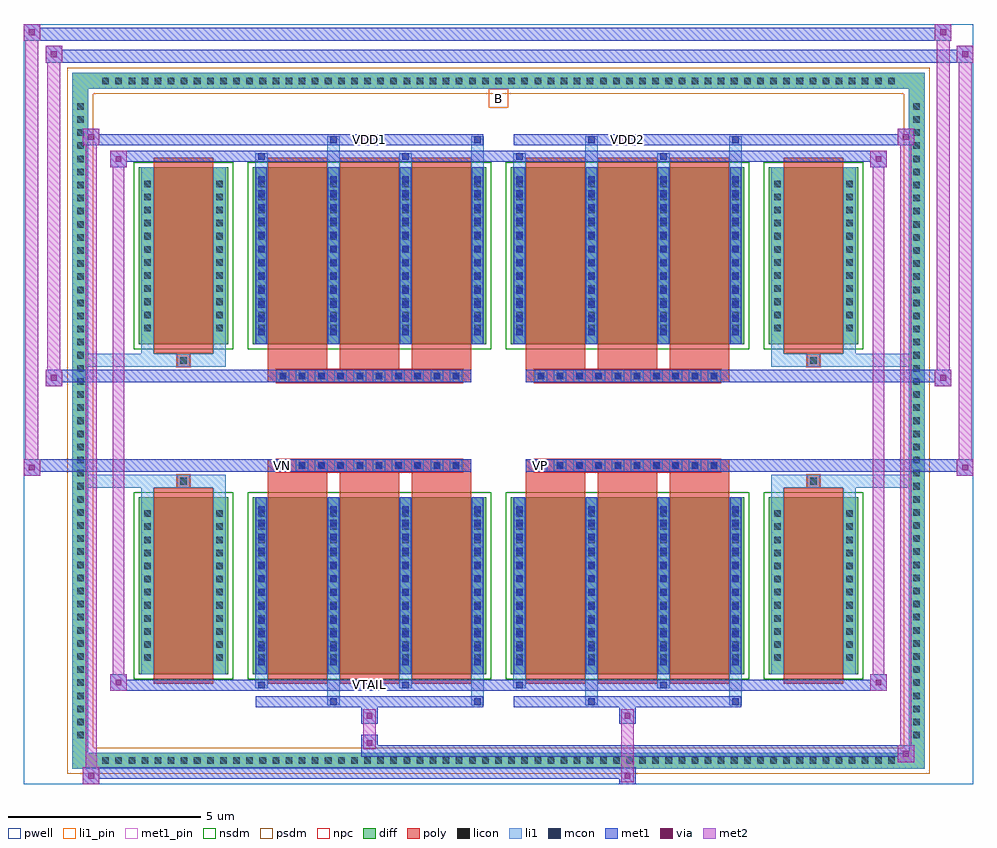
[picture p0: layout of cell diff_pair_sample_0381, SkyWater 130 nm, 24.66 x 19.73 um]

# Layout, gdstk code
import gdstk
lib = gdstk.Library(unit=1e-6, precision=5e-09)
def R(c, l, rs):  # rectangles x0, y0, x1, y1
    for r in rs: c.add(gdstk.rectangle(r[:2], r[2:], *l))
def A(c, l, x, y, w, h, nx, ny, dx, dy):  # array of equal rectangles
    R(c, l, [(x+i*dx, y+j*dy, x+i*dx+w, y+j*dy+h) for i in range(nx) for j in range(ny)])
def P(c, l, *ps):  # polygons
    for p in ps: c.add(gdstk.Polygon(p, *l))
pwell = (64, 44)
diff = (65, 20)
poly = (66, 20)
licon = (66, 44)
li1_pin = (67, 16)
li1 = (67, 20)
mcon = (67, 44)
met1_pin = (68, 16)
met1 = (68, 20)
via = (68, 44)
met2 = (69, 20)
nsdm = (93, 44)
psdm = (94, 20)
npc = (95, 20)

diff_pair_sample_0381 = lib.new_cell('diff_pair_sample_0381')
R(diff_pair_sample_0381, pwell, [(-12.33,-9.43,12.33,10.3), (-9.65,-7.62,-0.01,-0.8), (0.01,-7.62,9.65,-0.8), (-9.65,0.8,-0.01,7.62), (0.01,0.8,9.65,7.62)])
A(diff_pair_sample_0381, diff, -10.405, -9.03, 0.41, 0.41, 61, 2, 0.34, 17.65)
A(diff_pair_sample_0381, diff, -11.06, -8.365, 0.41, 0.41, 1, 49, 0, 0.34)
A(diff_pair_sample_0381, diff, 10.65, -8.365, 0.41, 0.41, 1, 49, 0, 0.34)
R(diff_pair_sample_0381, diff, [(-10.405,-9.03,10.405,-8.62), (-11.06,-8.365,-10.65,8.365), (10.65,-8.365,11.06,8.365), (-9.34,-6.575,-7.02,-1.985), (-6.38,-6.575,-0.32,-1.985), (0.32,-6.575,6.38,-1.985), (7.02,-6.575,9.34,-1.985), (-9.34,1.985,-7.02,6.575), (-6.38,1.985,-0.32,6.575), (0.32,1.985,6.38,6.575), (7.02,1.985,9.34,6.575), (-10.405,8.62,10.405,9.03)])
P(diff_pair_sample_0381, diff, [(11.06,9.03),(-11.06,9.03),(-11.06,-8.62),(-10.65,-8.62),(-10.65,8.62),(10.65,8.62),(10.65,-8.62),(-10.65,-8.62),(-11.06,-8.62),(-11.06,-9.03),(11.06,-9.03)])
A(diff_pair_sample_0381, poly, -5.99, -6.825, 1.54, 5.09, 3, 2, 1.87, 8.56)
A(diff_pair_sample_0381, poly, 0.71, -6.825, 1.54, 5.09, 3, 2, 1.87, 8.56)
A(diff_pair_sample_0381, poly, -5.99, -1.735, 1.54, 0.405, 3, 2, 1.87, 3.065)
A(diff_pair_sample_0381, poly, 0.71, -1.735, 1.54, 0.405, 3, 2, 1.87, 3.065)
A(diff_pair_sample_0381, poly, -5.765, -1.33, 0.33, 0.33, 10, 2, 0.5, 2.33)
A(diff_pair_sample_0381, poly, 0.935, -1.33, 0.33, 0.33, 10, 2, 0.5, 2.33)
R(diff_pair_sample_0381, poly, [(-8.95,-6.825,-7.41,-1.735), (7.41,-6.825,8.95,-1.735), (-8.345,-1.735,-8.015,-1.405), (-8.345,-1.735,-8.015,-1.405), (8.015,-1.735,8.345,-1.405), (8.015,-1.735,8.345,-1.405), (-5.99,-1.33,-0.71,-1), (0.71,-1.33,5.99,-1), (-5.99,1,-0.71,1.33), (0.71,1,5.99,1.33), (-8.345,1.405,-8.015,1.735), (-8.345,1.405,-8.015,1.735), (8.015,1.405,8.345,1.735), (8.015,1.405,8.345,1.735), (-8.95,1.735,-7.41,6.825), (7.41,1.735,8.95,6.825)])
A(diff_pair_sample_0381, licon, -10.285, -8.91, 0.17, 0.17, 61, 2, 0.34, 17.65)
A(diff_pair_sample_0381, licon, -10.94, -8.245, 0.17, 0.17, 1, 49, 0, 0.34)
A(diff_pair_sample_0381, licon, 10.77, -8.245, 0.17, 0.17, 1, 49, 0, 0.34)
A(diff_pair_sample_0381, licon, -9.2, -6.235, 0.17, 0.17, 1, 12, 0, 0.34)
A(diff_pair_sample_0381, licon, -7.33, -6.235, 0.17, 0.17, 1, 12, 0, 0.34)
A(diff_pair_sample_0381, licon, -6.24, -6.235, 0.17, 0.17, 4, 12, 1.87, 0.34)
A(diff_pair_sample_0381, licon, 0.46, -6.235, 0.17, 0.17, 4, 12, 1.87, 0.34)
A(diff_pair_sample_0381, licon, 7.16, -6.235, 0.17, 0.17, 1, 12, 0, 0.34)
A(diff_pair_sample_0381, licon, 9.03, -6.235, 0.17, 0.17, 1, 12, 0, 0.34)
A(diff_pair_sample_0381, licon, -5.685, -1.25, 0.17, 0.17, 10, 2, 0.5, 2.33)
A(diff_pair_sample_0381, licon, 1.015, -1.25, 0.17, 0.17, 10, 2, 0.5, 2.33)
A(diff_pair_sample_0381, licon, -9.2, 2.325, 0.17, 0.17, 1, 12, 0, 0.34)
A(diff_pair_sample_0381, licon, -7.33, 2.325, 0.17, 0.17, 1, 12, 0, 0.34)
A(diff_pair_sample_0381, licon, -6.24, 2.325, 0.17, 0.17, 4, 12, 1.87, 0.34)
A(diff_pair_sample_0381, licon, 0.46, 2.325, 0.17, 0.17, 4, 12, 1.87, 0.34)
A(diff_pair_sample_0381, licon, 7.16, 2.325, 0.17, 0.17, 1, 12, 0, 0.34)
A(diff_pair_sample_0381, licon, 9.03, 2.325, 0.17, 0.17, 1, 12, 0, 0.34)
R(diff_pair_sample_0381, licon, [(-8.265,-1.655,-8.095,-1.485), (8.095,-1.655,8.265,-1.485), (-8.265,1.485,-8.095,1.655), (8.095,1.485,8.265,1.655)])
R(diff_pair_sample_0381, li1_pin, [(-0.25,8.12,0.25,8.62)])
A(diff_pair_sample_0381, li1, -10.365, -8.99, 0.33, 0.33, 61, 2, 0.34, 17.65)
A(diff_pair_sample_0381, li1, -11.02, -8.325, 0.33, 0.33, 1, 49, 0, 0.34)
A(diff_pair_sample_0381, li1, 10.69, -8.325, 0.33, 0.33, 1, 49, 0, 0.34)
A(diff_pair_sample_0381, li1, -6.32, -6.575, 0.33, 4.59, 4, 2, 1.87, 8.56)
A(diff_pair_sample_0381, li1, 0.38, -6.575, 0.33, 4.59, 4, 2, 1.87, 8.56)
A(diff_pair_sample_0381, li1, -6.24, -6.345, 0.17, 0.17, 4, 12, 1.87, 0.36)
A(diff_pair_sample_0381, li1, -6.24, -6.345, 0.17, 4.13, 4, 2, 1.87, 8.56)
A(diff_pair_sample_0381, li1, 0.46, -6.345, 0.17, 0.17, 4, 12, 1.87, 0.36)
A(diff_pair_sample_0381, li1, 0.46, -6.345, 0.17, 4.13, 4, 2, 1.87, 8.56)
A(diff_pair_sample_0381, li1, -9.28, -6.315, 0.33, 0.33, 1, 12, 0, 0.34)
A(diff_pair_sample_0381, li1, -7.41, -6.315, 0.33, 0.33, 1, 12, 0, 0.34)
A(diff_pair_sample_0381, li1, -6.32, -6.315, 0.33, 0.33, 4, 12, 1.87, 0.34)
A(diff_pair_sample_0381, li1, 0.38, -6.315, 0.33, 0.33, 4, 12, 1.87, 0.34)
A(diff_pair_sample_0381, li1, 7.08, -6.315, 0.33, 0.33, 1, 12, 0, 0.34)
A(diff_pair_sample_0381, li1, 8.95, -6.315, 0.33, 0.33, 1, 12, 0, 0.34)
A(diff_pair_sample_0381, li1, -5.765, -1.33, 0.33, 0.33, 10, 2, 0.5, 2.33)
A(diff_pair_sample_0381, li1, 0.935, -1.33, 0.33, 0.33, 10, 2, 0.5, 2.33)
A(diff_pair_sample_0381, li1, -6.24, 2.215, 0.17, 0.17, 4, 12, 1.87, 0.36)
A(diff_pair_sample_0381, li1, 0.46, 2.215, 0.17, 0.17, 4, 12, 1.87, 0.36)
A(diff_pair_sample_0381, li1, -9.28, 2.245, 0.33, 0.33, 1, 12, 0, 0.34)
A(diff_pair_sample_0381, li1, -7.41, 2.245, 0.33, 0.33, 1, 12, 0, 0.34)
A(diff_pair_sample_0381, li1, -6.32, 2.245, 0.33, 0.33, 4, 12, 1.87, 0.34)
A(diff_pair_sample_0381, li1, 0.38, 2.245, 0.33, 0.33, 4, 12, 1.87, 0.34)
A(diff_pair_sample_0381, li1, 7.08, 2.245, 0.33, 0.33, 1, 12, 0, 0.34)
A(diff_pair_sample_0381, li1, 8.95, 2.245, 0.33, 0.33, 1, 12, 0, 0.34)
R(diff_pair_sample_0381, li1, [(-11.06,-9.03,-10.65,-8.62), (-11.06,-9.03,-10.65,-8.62), (-10.65,-9.03,10.65,-8.62), (10.65,-9.03,11.06,-8.62), (10.65,-9.03,11.06,-8.62), (-11.06,-8.62,-10.65,8.62), (10.65,-8.62,11.06,8.62), (-4.45,-7.38,-4.12,-6.575), (-4.37,-7.38,-4.2,-7.21), (-0.71,-7.38,-0.38,-6.575), (-0.63,-7.38,-0.46,-7.21), (2.25,-7.38,2.58,-6.575), (2.33,-7.38,2.5,-7.21), (5.99,-7.38,6.32,-6.575), (6.07,-7.38,6.24,-7.21), (-6.32,-6.95,-5.99,-6.575), (-6.24,-6.95,-6.07,-6.78), (-2.58,-6.95,-2.25,-6.575), (-2.5,-6.95,-2.33,-6.78), (0.38,-6.95,0.71,-6.575), (0.46,-6.95,0.63,-6.78), (4.12,-6.95,4.45,-6.575), (4.2,-6.95,4.37,-6.78), (-9.28,-6.575,-8.95,-1.985), (-7.41,-6.575,-7.08,-1.985), (7.08,-6.575,7.41,-1.985), (8.95,-6.575,9.28,-1.985), (-9.28,-1.985,-8.95,-1.405), (-7.41,-1.985,-7.08,-1.405), (7.08,-1.985,7.41,-1.405), (8.95,-1.985,9.28,-1.405), (-11.06,-1.735,-8.345,-1.405), (-9.28,-1.735,-8.345,-1.405), (-8.345,-1.735,-8.015,-1.405), (-8.015,-1.735,-7.08,-1.405), (7.08,-1.735,8.015,-1.405), (8.015,-1.735,8.345,-1.405), (8.015,-1.735,11.06,-1.405), (8.345,-1.735,9.28,-1.405), (-11.06,1.405,-8.345,1.735), (-9.28,1.405,-8.345,1.735), (-9.28,1.405,-8.95,1.985), (-8.345,1.405,-8.015,1.735), (-8.015,1.405,-7.08,1.735), (-7.41,1.405,-7.08,1.985), (7.08,1.405,8.015,1.735), (7.08,1.405,7.41,1.985), (8.015,1.405,8.345,1.735), (8.015,1.405,11.06,1.735), (8.345,1.405,9.28,1.735), (8.95,1.405,9.28,1.985), (-9.28,1.985,-8.95,6.575), (-7.41,1.985,-7.08,6.575), (7.08,1.985,7.41,6.575), (8.95,1.985,9.28,6.575), (-6.32,6.575,-5.99,6.95), (-4.45,6.575,-4.12,7.38), (-2.58,6.575,-2.25,6.95), (-0.71,6.575,-0.38,7.38), (0.38,6.575,0.71,6.95), (2.25,6.575,2.58,7.38), (4.12,6.575,4.45,6.95), (5.99,6.575,6.32,7.38), (-6.24,6.78,-6.07,6.95), (-2.5,6.78,-2.33,6.95), (0.46,6.78,0.63,6.95), (4.2,6.78,4.37,6.95), (-4.37,7.21,-4.2,7.38), (-0.63,7.21,-0.46,7.38), (2.33,7.21,2.5,7.38), (6.07,7.21,6.24,7.38), (-11.06,8.62,-10.65,9.03), (-11.06,8.62,-10.65,9.03), (-10.65,8.62,10.65,9.03), (10.65,8.62,11.06,9.03), (10.65,8.62,11.06,9.03)])
A(diff_pair_sample_0381, mcon, -6.24, -6.345, 0.17, 0.17, 4, 12, 1.87, 0.36)
A(diff_pair_sample_0381, mcon, 0.46, -6.345, 0.17, 0.17, 4, 12, 1.87, 0.36)
A(diff_pair_sample_0381, mcon, -5.685, -1.25, 0.17, 0.17, 10, 2, 0.5, 2.33)
A(diff_pair_sample_0381, mcon, 1.015, -1.25, 0.17, 0.17, 10, 2, 0.5, 2.33)
A(diff_pair_sample_0381, mcon, -6.24, 2.215, 0.17, 0.17, 4, 12, 1.87, 0.36)
A(diff_pair_sample_0381, mcon, 0.46, 2.215, 0.17, 0.17, 4, 12, 1.87, 0.36)
R(diff_pair_sample_0381, mcon, [(-4.37,-7.38,-4.2,-7.21), (-0.63,-7.38,-0.46,-7.21), (2.33,-7.38,2.5,-7.21), (6.07,-7.38,6.24,-7.21), (-6.24,-6.95,-6.07,-6.78), (-2.5,-6.95,-2.33,-6.78), (0.46,-6.95,0.63,-6.78), (4.2,-6.95,4.37,-6.78), (-6.24,6.78,-6.07,6.95), (-2.5,6.78,-2.33,6.95), (0.46,6.78,0.63,6.95), (4.2,6.78,4.37,6.95), (-4.37,7.21,-4.2,7.38), (-0.63,7.21,-0.46,7.38), (2.33,7.21,2.5,7.38), (6.07,7.21,6.24,7.38)])
R(diff_pair_sample_0381, met1_pin, [(-3.485,-6.99,-3.215,-6.72), (-5.735,-1.29,-5.465,-1.02), (0.965,-1.29,1.235,-1.02), (-3.485,7.17,-3.215,7.44), (3.215,7.17,3.485,7.44)])
A(diff_pair_sample_0381, met1, -6.3, -6.575, 0.29, 4.59, 4, 2, 1.87, 8.56)
A(diff_pair_sample_0381, met1, 0.4, -6.575, 0.29, 4.59, 4, 2, 1.87, 8.56)
A(diff_pair_sample_0381, met1, -6.3, -6.405, 0.29, 0.29, 4, 12, 1.87, 0.36)
A(diff_pair_sample_0381, met1, 0.4, -6.405, 0.29, 0.29, 4, 12, 1.87, 0.36)
A(diff_pair_sample_0381, met1, -5.745, -1.31, 0.29, 0.29, 10, 2, 0.5, 2.33)
A(diff_pair_sample_0381, met1, 0.955, -1.31, 0.29, 0.29, 10, 2, 0.5, 2.33)
A(diff_pair_sample_0381, met1, -6.3, 2.155, 0.29, 0.29, 4, 12, 1.87, 0.36)
A(diff_pair_sample_0381, met1, 0.4, 2.155, 0.29, 0.29, 4, 12, 1.87, 0.36)
R(diff_pair_sample_0381, met1, [(-10.79,-9.43,-10.36,-9), (3.135,-9.43,3.565,-9), (-10.79,-9.29,3.565,-9), (10.36,-8.86,10.79,-8.43), (-3.565,-8.72,10.79,-8.43), (-3.565,-8.58,-3.135,-8.15), (-3.565,-7.87,-3.135,-7.44), (3.135,-7.87,3.565,-7.44), (-6.3,-7.44,-0.4,-7.15), (-4.43,-7.44,-4.14,-7.15), (-0.69,-7.44,-0.4,-7.15), (0.4,-7.44,6.3,-7.15), (2.27,-7.44,2.56,-7.15), (6.01,-7.44,6.3,-7.15), (-10.08,-7.01,-9.65,-6.58), (-10.08,-7.01,-6.3,-6.72), (-6.3,-7.01,-6.01,-6.72), (-6.3,-7.01,-0.4,-6.72), (-2.56,-7.01,-2.27,-6.72), (-0.4,-7.01,0.4,-6.72), (0.4,-7.01,0.69,-6.72), (0.4,-7.01,6.3,-6.72), (4.14,-7.01,4.43,-6.72), (6.3,-7.01,10.08,-6.72), (9.65,-7.01,10.08,-6.58), (-12.33,-1.43,-11.9,-1), (11.9,-1.43,12.33,-1), (-12.33,-1.33,-0.71,-1), (-5.99,-1.33,-0.71,-1), (0.71,-1.33,5.99,-1), (0.71,-1.33,12.33,-1), (-11.76,0.9,-11.33,1.33), (11.33,0.9,11.76,1.33), (-11.76,1,-5.99,1.33), (-5.99,1,-0.71,1.33), (0.71,1,5.99,1.33), (5.99,1,11.76,1.33), (-10.08,6.58,-9.65,7.01), (9.65,6.58,10.08,7.01), (-10.08,6.72,-6.3,7.01), (-6.3,6.72,-6.01,7.01), (-6.3,6.72,-0.4,7.01), (-2.56,6.72,-2.27,7.01), (-0.4,6.72,0.4,7.01), (0.4,6.72,0.69,7.01), (0.4,6.72,6.3,7.01), (4.14,6.72,4.43,7.01), (6.3,6.72,10.08,7.01), (-10.79,7.15,-10.36,7.58), (-10.79,7.15,-6.3,7.44), (-6.3,7.15,-0.4,7.44), (-4.43,7.15,-4.14,7.44), (-0.69,7.15,-0.4,7.44), (0.4,7.15,6.3,7.44), (2.27,7.15,2.56,7.44), (6.01,7.15,6.3,7.44), (6.3,7.15,10.79,7.44), (10.36,7.15,10.79,7.58), (-11.76,9.3,-11.33,9.73), (-11.76,9.3,-9.65,9.63), (-9.65,9.3,9.65,9.63), (9.65,9.3,12.33,9.63), (11.9,9.3,12.33,9.73), (-12.33,9.87,-11.9,10.3), (-12.33,9.87,-9.65,10.2), (-9.65,9.87,9.65,10.2), (9.65,9.87,11.76,10.2), (11.33,9.87,11.76,10.3)])
R(diff_pair_sample_0381, via, [(-10.65,-9.29,-10.5,-9.14), (3.275,-9.29,3.425,-9.14), (10.5,-8.72,10.65,-8.57), (-3.425,-8.44,-3.275,-8.29), (-3.425,-7.73,-3.275,-7.58), (3.275,-7.73,3.425,-7.58), (-9.94,-6.87,-9.79,-6.72), (9.79,-6.87,9.94,-6.72), (-12.19,-1.29,-12.04,-1.14), (12.04,-1.29,12.19,-1.14), (-11.62,1.04,-11.47,1.19), (11.47,1.04,11.62,1.19), (-9.94,6.72,-9.79,6.87), (9.79,6.72,9.94,6.87), (-10.65,7.29,-10.5,7.44), (10.5,7.29,10.65,7.44), (-11.62,9.44,-11.47,9.59), (12.04,9.44,12.19,9.59), (-12.19,10.01,-12.04,10.16), (11.47,10.01,11.62,10.16)])
R(diff_pair_sample_0381, met2, [(-10.79,-9.43,-10.36,-9), (-10.72,-9.43,-10.43,7.58), (-10.43,-9.43,-10.36,-9), (-10.74,-9.38,-10.41,-9.05), (3.185,-9.38,3.515,-9.05), (3.185,-9.05,3.515,-7.82), (10.36,-8.86,10.79,-8.43), (10.43,-8.86,10.72,7.58), (10.72,-8.86,10.79,-8.43), (10.41,-8.81,10.74,-8.48), (-3.515,-8.53,-3.185,-8.2), (-3.515,-8.2,-3.185,-7.82), (-3.515,-7.82,-3.185,-7.49), (3.185,-7.82,3.515,-7.49), (-10.08,-7.01,-9.65,-6.58), (-10.01,-7.01,-9.72,7.01), (-9.72,-7.01,-9.65,-6.58), (9.65,-7.01,10.08,-6.58), (9.72,-7.01,10.01,7.01), (10.01,-7.01,10.08,-6.58), (-10.03,-6.96,-9.7,-6.63), (9.7,-6.96,10.03,-6.63), (-12.33,-1.43,-11.9,-1), (-12.28,-1.43,-11.95,10.3), (-11.95,-1.43,-11.9,-1), (11.9,-1.43,12.33,-1), (11.95,-1.43,12.28,9.73), (12.28,-1.43,12.33,-1), (-12.28,-1.38,-11.95,-1.05), (11.95,-1.38,12.28,-1.05), (-11.76,0.9,-11.33,1.33), (-11.71,0.9,-11.38,9.73), (-11.38,0.9,-11.33,1.33), (11.33,0.9,11.76,1.33), (11.38,0.9,11.71,10.3), (11.71,0.9,11.76,1.33), (-11.71,0.95,-11.38,1.28), (11.38,0.95,11.71,1.28), (-10.08,6.58,-9.65,7.01), (-9.72,6.58,-9.65,7.01), (9.65,6.58,10.08,7.01), (10.01,6.58,10.08,7.01), (-10.03,6.63,-9.7,6.96), (9.7,6.63,10.03,6.96), (-10.79,7.15,-10.36,7.58), (-10.43,7.15,-10.36,7.58), (10.36,7.15,10.79,7.58), (10.72,7.15,10.79,7.58), (-10.74,7.2,-10.41,7.53), (10.41,7.2,10.74,7.53), (-11.76,9.3,-11.33,9.73), (-11.38,9.3,-11.33,9.73), (11.9,9.3,12.33,9.73), (12.28,9.3,12.33,9.73), (-11.71,9.35,-11.38,9.68), (11.95,9.35,12.28,9.68), (-12.33,9.87,-11.9,10.3), (-11.95,9.87,-11.9,10.3), (11.33,9.87,11.76,10.3), (11.71,9.87,11.76,10.3), (-12.28,9.92,-11.95,10.25), (11.38,9.92,11.71,10.25)])
R(diff_pair_sample_0381, nsdm, [(-9.47,-6.705,-6.89,-1.855), (-6.51,-6.705,-0.19,-1.855), (0.19,-6.705,6.51,-1.855), (6.89,-6.705,9.47,-1.855), (-9.47,1.855,-6.89,6.705), (-6.51,1.855,-0.19,6.705), (0.19,1.855,6.51,6.705), (6.89,1.855,9.47,6.705)])
P(diff_pair_sample_0381, psdm, [(11.19,9.16),(-11.19,9.16),(-11.19,-8.49),(-10.52,-8.49),(-10.52,8.49),(10.52,8.49),(10.52,-8.49),(-10.52,-8.49),(-11.19,-8.49),(-11.19,-9.16),(11.19,-9.16)])
A(diff_pair_sample_0381, npc, -5.785, -1.35, 0.37, 0.37, 10, 2, 0.5, 2.33)
A(diff_pair_sample_0381, npc, 0.915, -1.35, 0.37, 0.37, 10, 2, 0.5, 2.33)
R(diff_pair_sample_0381, npc, [(-8.365,-1.755,-7.995,-1.385), (7.995,-1.755,8.365,-1.385), (-5.785,-1.35,-4.915,-0.98), (-5.785,-1.35,-4.915,-0.98), (-5.285,-1.35,-4.415,-0.98), (-5.285,-1.35,-4.415,-0.98), (-4.785,-1.35,-3.915,-0.98), (-4.785,-1.35,-3.915,-0.98), (-4.285,-1.35,-3.415,-0.98), (-4.285,-1.35,-3.415,-0.98), (-3.785,-1.35,-2.915,-0.98), (-3.785,-1.35,-2.915,-0.98), (-3.285,-1.35,-2.415,-0.98), (-3.285,-1.35,-2.415,-0.98), (-2.785,-1.35,-1.915,-0.98), (-2.785,-1.35,-1.915,-0.98), (-2.285,-1.35,-1.415,-0.98), (-2.285,-1.35,-1.415,-0.98), (-1.785,-1.35,-0.915,-0.98), (-1.785,-1.35,-0.915,-0.98), (0.915,-1.35,1.785,-0.98), (0.915,-1.35,1.785,-0.98), (1.415,-1.35,2.285,-0.98), (1.415,-1.35,2.285,-0.98), (1.915,-1.35,2.785,-0.98), (1.915,-1.35,2.785,-0.98), (2.415,-1.35,3.285,-0.98), (2.415,-1.35,3.285,-0.98), (2.915,-1.35,3.785,-0.98), (2.915,-1.35,3.785,-0.98), (3.415,-1.35,4.285,-0.98), (3.415,-1.35,4.285,-0.98), (3.915,-1.35,4.785,-0.98), (3.915,-1.35,4.785,-0.98), (4.415,-1.35,5.285,-0.98), (4.415,-1.35,5.285,-0.98), (4.915,-1.35,5.785,-0.98), (4.915,-1.35,5.785,-0.98), (-5.785,0.98,-4.915,1.35), (-5.785,0.98,-4.915,1.35), (-5.285,0.98,-4.415,1.35), (-5.285,0.98,-4.415,1.35), (-4.785,0.98,-3.915,1.35), (-4.785,0.98,-3.915,1.35), (-4.285,0.98,-3.415,1.35), (-4.285,0.98,-3.415,1.35), (-3.785,0.98,-2.915,1.35), (-3.785,0.98,-2.915,1.35), (-3.285,0.98,-2.415,1.35), (-3.285,0.98,-2.415,1.35), (-2.785,0.98,-1.915,1.35), (-2.785,0.98,-1.915,1.35), (-2.285,0.98,-1.415,1.35), (-2.285,0.98,-1.415,1.35), (-1.785,0.98,-0.915,1.35), (-1.785,0.98,-0.915,1.35), (0.915,0.98,1.785,1.35), (0.915,0.98,1.785,1.35), (1.415,0.98,2.285,1.35), (1.415,0.98,2.285,1.35), (1.915,0.98,2.785,1.35), (1.915,0.98,2.785,1.35), (2.415,0.98,3.285,1.35), (2.415,0.98,3.285,1.35), (2.915,0.98,3.785,1.35), (2.915,0.98,3.785,1.35), (3.415,0.98,4.285,1.35), (3.415,0.98,4.285,1.35), (3.915,0.98,4.785,1.35), (3.915,0.98,4.785,1.35), (4.415,0.98,5.285,1.35), (4.415,0.98,5.285,1.35), (4.915,0.98,5.785,1.35), (4.915,0.98,5.785,1.35), (-8.365,1.385,-7.995,1.755), (7.995,1.385,8.365,1.755)])
diff_pair_sample_0381.add(gdstk.Label('VTAIL', (-3.35,-6.855), layer=68, texttype=5))
diff_pair_sample_0381.add(gdstk.Label('VN', (-5.6,-1.155), layer=68, texttype=5))
diff_pair_sample_0381.add(gdstk.Label('VP', (1.1,-1.155), layer=68, texttype=5))
diff_pair_sample_0381.add(gdstk.Label('B', (0,8.37), layer=67, texttype=5))
diff_pair_sample_0381.add(gdstk.Label('VDD2', (3.35,7.305), layer=68, texttype=5))
diff_pair_sample_0381.add(gdstk.Label('VDD1', (-3.35,7.305), layer=68, texttype=5))

lib.write_gds('diff_pair_sample_0381.gds')
